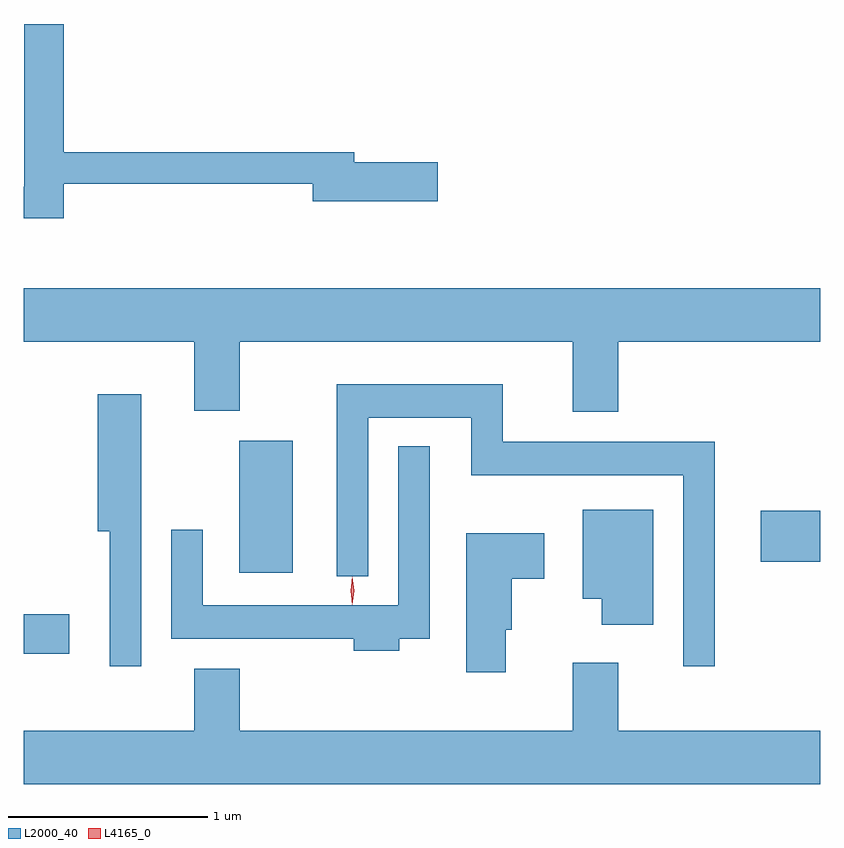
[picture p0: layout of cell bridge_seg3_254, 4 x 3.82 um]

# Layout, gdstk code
import gdstk
lib = gdstk.Library(unit=1e-6, precision=1e-09)
def R(c, l, rs):  # rectangles x0, y0, x1, y1
    for r in rs: c.add(gdstk.rectangle(r[:2], r[2:], *l))
def P(c, l, *ps):  # polygons
    for p in ps: c.add(gdstk.Polygon(p, *l))
L2000_40 = (2000, 40)
L4165_0 = (4165, 0)

bridge_seg3_254 = lib.new_cell('bridge_seg3_254')
R(bridge_seg3_254, L2000_40, [(1037.064,1139.991,1037.294,1140.189), (1038.146,1140.396,1038.414,1141.059), (1040.766,1140.451,1041.064,1140.709)])
P(bridge_seg3_254, L2000_40, [(1037.264,1142.351),(1038.516,1142.351),(1038.516,1142.261),(1039.144,1142.261),(1039.144,1142.459),(1038.724,1142.459),(1038.724,1142.509),(1037.264,1142.509),(1037.264,1143.152),(1037.066,1143.152),(1037.066,1142.334),(1037.064,1142.334),(1037.064,1142.176),(1037.264,1142.176)],
  [(1040.049,1141.556),(1041.064,1141.556),(1041.064,1141.824),(1037.064,1141.824),(1037.064,1141.556),(1037.921,1141.556),(1037.921,1141.211),(1038.149,1141.211),(1038.149,1141.556),(1039.821,1141.556),(1039.821,1141.206),(1040.049,1141.206)],
  [(1040.534,1141.054),(1039.469,1141.054),(1039.469,1141.344),(1038.636,1141.344),(1038.636,1140.378),(1038.794,1140.378),(1038.794,1141.176),(1039.311,1141.176),(1039.311,1140.886),(1040.376,1140.886),(1040.376,1139.928),(1040.534,1139.928)],
  [(1037.654,1141.294),(1037.436,1141.294),(1037.436,1140.606),(1037.496,1140.606),(1037.496,1139.928),(1037.654,1139.928)],
  [(1038.949,1140.066),(1039.104,1140.066),(1039.104,1141.033),(1038.946,1141.033),(1038.946,1140.234),(1037.964,1140.234),(1037.964,1140.613),(1037.806,1140.613),(1037.806,1140.066),(1038.721,1140.066),(1038.721,1140.006),(1038.949,1140.006)],
  [(1040.224,1140.714),(1039.871,1140.714),(1039.871,1140.266),(1039.966,1140.266),(1039.966,1140.136),(1040.224,1140.136)],
  [(1039.484,1140.111),(1039.514,1140.111),(1039.514,1140.366),(1039.679,1140.366),(1039.679,1140.594),(1039.286,1140.594),(1039.286,1139.896),(1039.484,1139.896)],
  [(1041.064,1139.604),(1040.049,1139.604),(1040.049,1139.944),(1039.821,1139.944),(1039.821,1139.604),(1038.149,1139.604),(1038.149,1139.914),(1037.921,1139.914),(1037.921,1139.604),(1037.064,1139.604),(1037.064,1139.336),(1041.064,1139.336)])
P(bridge_seg3_254, L4165_0, [(1038.715,1140.239),(1038.714,1140.24),(1038.705,1140.306),(1038.714,1140.372),(1038.715,1140.373),(1038.715,1140.372),(1038.725,1140.306),(1038.715,1140.24)],
  [(1038.714,1140.237),(1038.705,1140.306),(1038.714,1140.376),(1038.715,1140.376),(1038.715,1140.376),(1038.725,1140.306),(1038.715,1140.237),(1038.715,1140.237)])

lib.write_gds('bridge_seg3_254.gds')
